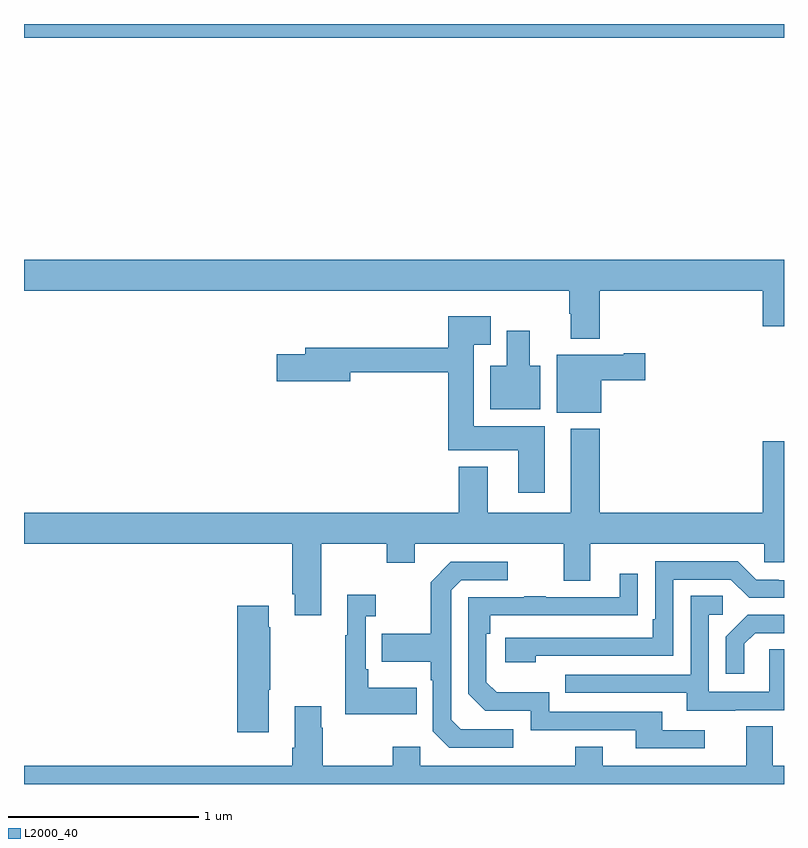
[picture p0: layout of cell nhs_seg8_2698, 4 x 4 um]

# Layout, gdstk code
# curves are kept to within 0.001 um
import gdstk
lib = gdstk.Library(unit=1e-6, precision=1e-09)
def R(c, l, rs):  # rectangles x0, y0, x1, y1
    for r in rs: c.add(gdstk.rectangle(r[:2], r[2:], *l))
def P(c, l, *ps):  # polygons
    for p in ps: c.add(gdstk.Polygon(p, *l))
L2000_40 = (2000, 40)

nhs_seg8_2698 = lib.new_cell('nhs_seg8_2698')
R(nhs_seg8_2698, L2000_40, [(281,1121.828,285,1121.9)])
P(nhs_seg8_2698, L2000_40, [(284.03,1120.496),(284.888,1120.496),(284.888,1120.308),(285,1120.308),(285,1120.66),(281,1120.66),(281,1120.496),(283.87,1120.496),(283.87,1120.376),(283.877,1120.376),(283.877,1120.244),(284.03,1120.244)],
  [(283.741,1119.784),(283.366,1119.784),(283.366,1120.211),(283.456,1120.211),(283.456,1120.363),(283.232,1120.363),(283.232,1120.195),(282.479,1120.195),(282.479,1120.161),(282.33,1120.161),(282.33,1120.019),(282.718,1120.019),(282.718,1120.066),(283.232,1120.066),(283.232,1119.656),(283.601,1119.656),(283.601,1119.432),(283.741,1119.432)],
  [(283.717,1120.102),(283.663,1120.102),(283.663,1120.285),(283.541,1120.285),(283.541,1120.102),(283.454,1120.102),(283.454,1119.872),(283.717,1119.872)],
  [(284.038,1120.025),(284.269,1120.025),(284.269,1120.167),(284.156,1120.167),(284.156,1120.159),(283.805,1120.159),(283.805,1119.854),(284.038,1119.854)],
  [(282.565,1119.164),(282.91,1119.164),(282.91,1119.065),(283.057,1119.065),(283.057,1119.164),(283.841,1119.164),(283.841,1118.97),(283.981,1118.97),(283.981,1119.164),(284.895,1119.164),(284.895,1119.066),(285,1119.066),(285,1119.703),(284.888,1119.703),(284.888,1119.328),(284.03,1119.328),(284.03,1119.769),(283.877,1119.769),(283.877,1119.328),(283.441,1119.328),(283.441,1119.571),(283.289,1119.571),(283.289,1119.328),(281,1119.328),(281,1119.164),(282.413,1119.164),(282.413,1118.899),(282.425,1118.899),(282.425,1118.787),(282.565,1118.787)],
  [(283.694,1118.574),(284.418,1118.574),(284.418,1118.976),(284.721,1118.976),(284.817,1118.88),(285,1118.88),(285,1118.973),(284.972,1118.973),(284.972,1118.976),(284.853,1118.976),(284.757,1119.072),(284.322,1119.072),(284.322,1118.767),(284.309,1118.767),(284.309,1118.67),(283.533,1118.67),(283.533,1118.54),(283.694,1118.54)],
  [(283.576,1118.187),(283.299,1118.187),(283.248,1118.238),(283.248,1118.919),(283.302,1118.973),(283.546,1118.973),(283.546,1119.069),(283.245,1119.069),(283.14,1118.963),(283.14,1118.691),(282.883,1118.691),(282.883,1118.543),(283.14,1118.543),(283.14,1118.447),(283.152,1118.447),(283.152,1118.178),(283.239,1118.091),(283.576,1118.091)],
  [(284.584,1118.184),(284.359,1118.184),(284.359,1118.28),(283.764,1118.28),(283.764,1118.383),(283.487,1118.383),(283.434,1118.436),(283.434,1118.69),(283.454,1118.69),(283.454,1118.787),(284.231,1118.788),(284.231,1119.007),(284.135,1119.007),(284.135,1118.883),(283.745,1118.883),(283.745,1118.888),(283.633,1118.888),(283.633,1118.883),(283.338,1118.883),(283.338,1118.376),(283.428,1118.286),(283.668,1118.286),(283.668,1118.184),(284.219,1118.184),(284.219,1118.088),(284.584,1118.088)],
  [(283.067,1118.407),(282.811,1118.407),(282.811,1118.503),(282.798,1118.503),(282.798,1118.783),(282.85,1118.783),(282.85,1118.896),(282.701,1118.896),(282.701,1118.683),(282.69,1118.683),(282.69,1118.267),(283.067,1118.267)],
  [(284.743,1118.289),(285,1118.289),(285,1118.609),(284.922,1118.609),(284.922,1118.385),(284.604,1118.385),(284.604,1118.79),(284.677,1118.79),(284.677,1118.891),(284.508,1118.891),(284.508,1118.475),(283.849,1118.475),(283.849,1118.379),(284.489,1118.379),(284.489,1118.285),(284.743,1118.285)],
  [(282.289,1118.395),(282.297,1118.395),(282.297,1118.726),(282.289,1118.726),(282.289,1118.839),(282.122,1118.839),(282.122,1118.172),(282.289,1118.172)],
  [(284.791,1118.637),(284.848,1118.694),(285,1118.694),(285,1118.79),(284.81,1118.79),(284.694,1118.674),(284.694,1118.481),(284.791,1118.481)],
  [(285,1117.996),(284.941,1117.996),(284.941,1118.204),(284.801,1118.204),(284.801,1117.996),(284.047,1117.996),(284.047,1118.095),(283.9,1118.095),(283.9,1117.996),(283.086,1117.996),(283.086,1118.095),(282.94,1118.095),(282.94,1117.996),(282.573,1117.996),(282.573,1118.195),(282.565,1118.195),(282.565,1118.308),(282.425,1118.308),(282.425,1118.092),(282.413,1118.092),(282.413,1117.996),(281,1117.996),(281,1117.9),(285,1117.9)])

lib.write_gds('nhs_seg8_2698.gds')
